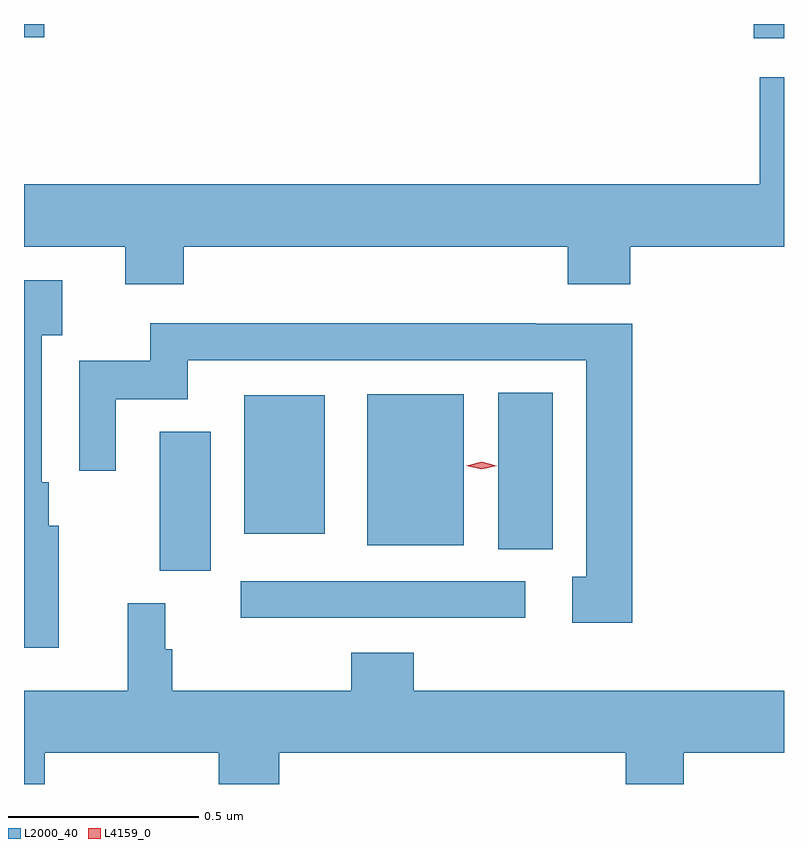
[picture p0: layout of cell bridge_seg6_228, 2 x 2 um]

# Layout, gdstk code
import gdstk
lib = gdstk.Library(unit=1e-6, precision=1e-09)
def R(c, l, rs):  # rectangles x0, y0, x1, y1
    for r in rs: c.add(gdstk.rectangle(r[:2], r[2:], *l))
def P(c, l, *ps):  # polygons
    for p in ps: c.add(gdstk.Polygon(p, *l))
L2000_40 = (2000, 40)
L4159_0 = (4159, 0)

bridge_seg6_228 = lib.new_cell('bridge_seg6_228')
R(bridge_seg6_228, L2000_40, [(214.185,970.335,214.933,970.431), (213.971,970.459,214.105,970.825), (214.862,970.516,215.005,970.928), (214.517,970.526,214.771,970.924), (214.193,970.556,214.405,970.921), (215.534,971.861,215.614,971.898), (213.614,971.863,213.667,971.898)])
P(bridge_seg6_228, L2000_40, [(214.034,971.312),(215.045,971.312),(215.045,971.213),(215.21,971.213),(215.21,971.312),(215.614,971.312),(215.614,971.758),(215.55,971.758),(215.55,971.476),(213.614,971.476),(213.614,971.312),(213.881,971.312),(213.881,971.213),(214.034,971.213)],
  [(213.706,970.578),(213.679,970.578),(213.679,970.692),(213.661,970.692),(213.661,971.079),(213.715,971.079),(213.715,971.224),(213.614,971.224),(213.614,970.256),(213.706,970.256)],
  [(215.215,971.109),(214.961,971.109),(214.961,971.111),(213.946,971.111),(213.946,971.012),(213.76,971.012),(213.76,970.872),(213.759,970.872),(213.759,970.722),(213.855,970.722),(213.855,970.91),(214.045,970.91),(214.045,971.013),(215.093,971.013),(215.093,970.443),(215.057,970.443),(215.057,970.323),(215.215,970.323)],
  [(213.669,969.98),(214.126,969.98),(214.126,969.898),(214.286,969.898),(214.286,969.98),(215.198,969.98),(215.198,969.898),(215.35,969.898),(215.35,969.98),(215.614,969.98),(215.614,970.144),(214.64,970.144),(214.64,970.243),(214.475,970.243),(214.475,970.144),(214.004,970.144),(214.004,970.253),(213.986,970.253),(213.986,970.374),(213.887,970.374),(213.887,970.144),(213.614,970.144),(213.614,969.898),(213.669,969.898)])
P(bridge_seg6_228, L4159_0, [(214.818,970.726),(214.778,970.736),(214.778,970.736),(214.778,970.736),(214.818,970.746),(214.858,970.736),(214.858,970.736),(214.858,970.736)])

lib.write_gds('bridge_seg6_228.gds')
